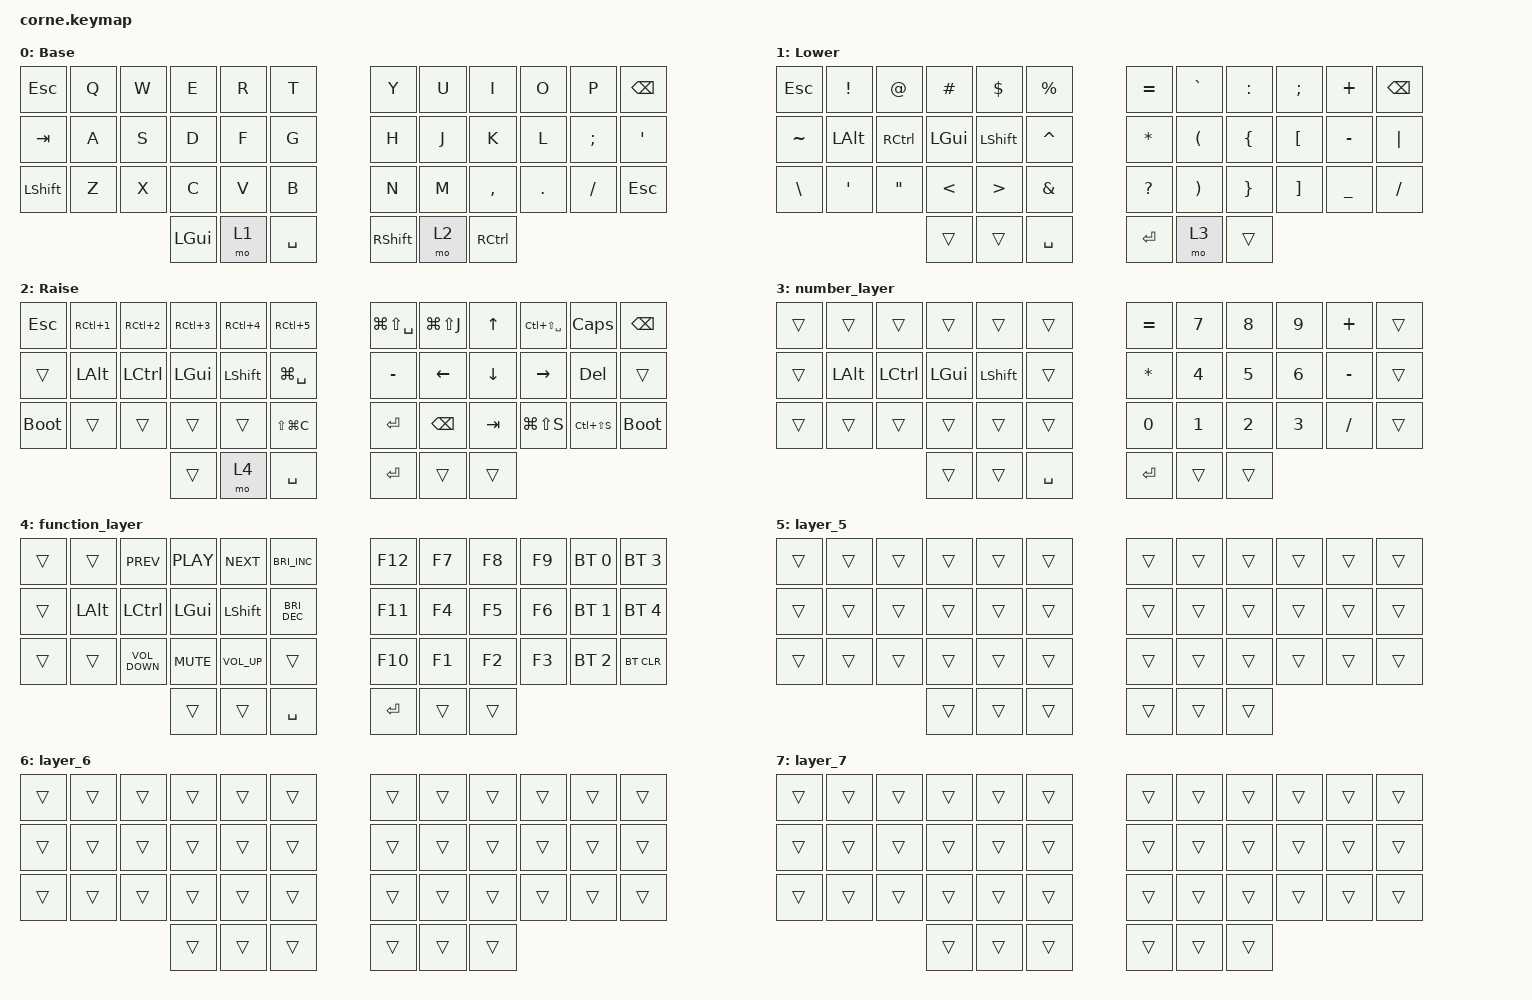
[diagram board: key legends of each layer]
/*
 * Copyright (c) 2020 The ZMK Contributors
 *
 * SPDX-License-Identifier: MIT
 */

#include <behaviors.dtsi>
#include <dt-bindings/zmk/bt.h>
#include <dt-bindings/zmk/keys.h>

/ {
    keymap {
        compatible = "zmk,keymap";

        default_layer {
            // -----------------------------------------------------------------------------------------
            // |  TAB |  Q  |  W  |  E  |  R  |  T  |   |  Y  |  U   |  I  |  O  |  P  | BKSP |
            // | CTRL |  A  |  S  |  D  |  F  |  G  |   |  H  |  J   |  K  |  L  |  ;  |  '   |
            // | SHFT |  Z  |  X  |  C  |  V  |  B  |   |  N  |  M   |  ,  |  .  |  /  | ESC  |
            //                    | GUI | LWR | SPC |   | ENT | RSE  | ALT |

            label = "Base";
            bindings = <
&kp ESCAPE  &kp Q  &kp W  &kp E     &kp R  &kp T        &kp Y            &kp U  &kp I              &kp O    &kp P     &kp BSPC
&kp TAB     &kp A  &kp S  &kp D     &kp F  &kp G        &kp H            &kp J  &kp K              &kp L    &kp SEMI  &kp SQT
&kp LSHFT   &kp Z  &kp X  &kp C     &kp V  &kp B        &kp N            &kp M  &kp COMMA          &kp DOT  &kp FSLH  &kp ESC
                          &kp LGUI  &mo 1  &kp SPACE    &kp RIGHT_SHIFT  &mo 2  &kp RIGHT_CONTROL
            >;
        };

        lower_layer {
            // -----------------------------------------------------------------------------------------
            // |  TAB |  1  |  2  |  3  |  4  |  5  |   |  6  |  7  |  8  |  9  |  0  | BKSP |
            // | BTCLR| BT1 | BT2 | BT3 | BT4 | BT5 |   | LFT | DWN |  UP | RGT |     |      |
            // | SHFT |     |     |     |     |     |   |     |     |     |     |     |      |
            //                    |BTCLR|     | SPC |   | ENT |     | ALT |

            label = "Lower";
            bindings = <
&kp ESCAPE     &kp EXCLAMATION  &kp AT_SIGN        &kp HASH       &kp DOLLAR        &kp PERCENT      &kp EQUAL     &kp GRAVE              &kp COLON        &kp SEMICOLON      &kp PLUS        &kp BSPC
&kp TILDE      &kp LEFT_ALT     &kp RIGHT_CONTROL  &kp LEFT_GUI   &kp LEFT_SHIFT    &kp CARET        &kp ASTERISK  &kp LEFT_PARENTHESIS   &kp LEFT_BRACE   &kp LEFT_BRACKET   &kp MINUS       &kp PIPE
&kp BACKSLASH  &kp SQT          &kp DOUBLE_QUOTES  &kp LESS_THAN  &kp GREATER_THAN  &kp AMPERSAND    &kp QUESTION  &kp RIGHT_PARENTHESIS  &kp RIGHT_BRACE  &kp RIGHT_BRACKET  &kp UNDERSCORE  &kp SLASH
                                                   &trans         &trans            &kp SPACE        &kp RET       &mo 3                  &trans
            >;
        };

        raise_layer {
            // -----------------------------------------------------------------------------------------
            // |  TAB |  !  |  @  |  #  |  $  |  %  |   |  ^  |  &  |  *  |  (  |  )  | BKSP |
            // | CTRL |     |     |     |     |     |   |  -  |  =  |  [  |  ]  |  \  |  `   |
            // | SHFT |     |     |     |     |     |   |  _  |  +  |  {  |  }  | "|" |  ~   |
            //                    | GUI |     | SPC |   | ENT |     | ALT |

            label = "Raise";
            bindings = <
&kp ESCAPE   &kp RC(NUMBER_1)  &kp RC(NUMBER_2)  &kp RC(NUMBER_3)  &kp RC(NUMBER_4)  &kp RC(N5)       &kp LG(LS(SPACE))  &kp LG(LS(J))  &kp UP_ARROW  &kp LC(LS(SPACE))  &kp CLCK       &kp BSPC
&trans       &kp LEFT_ALT      &kp LEFT_CONTROL  &kp LEFT_GUI      &kp LEFT_SHIFT    &kp LG(SPACE)    &kp MINUS          &kp LEFT       &kp DOWN      &kp RIGHT          &kp DELETE     &trans
&bootloader  &trans            &trans            &trans            &trans            &kp LS(LG(C))    &kp ENTER          &kp BACKSPACE  &kp TAB       &kp LG(LS(S))      &kp LC(LS(S))  &bootloader
                                                 &trans            &mo 4             &kp SPACE        &kp RET            &trans         &trans
            >;
        };

        number_layer {
            bindings = <
&trans  &trans        &trans            &trans        &trans          &trans       &kp EQUAL     &kp N7        &kp N8        &kp N9        &kp PLUS   &trans
&trans  &kp LEFT_ALT  &kp LEFT_CONTROL  &kp LEFT_GUI  &kp LEFT_SHIFT  &trans       &kp ASTERISK  &kp NUMBER_4  &kp N5        &kp NUMBER_6  &kp MINUS  &trans
&trans  &trans        &trans            &trans        &trans          &trans       &kp N0        &kp NUMBER_1  &kp NUMBER_2  &kp NUMBER_3  &kp SLASH  &trans
                                        &trans        &trans          &kp SPACE    &kp ENTER     &trans        &trans
            >;
        };

        function_layer {
            bindings = <
&trans  &trans        &kp C_PREV         &kp C_PLAY    &kp C_NEXT       &kp C_BRIGHTNESS_INC    &kp F12    &kp F7  &kp F8  &kp F9  &bt BT_SEL 0  &bt BT_SEL 3
&trans  &kp LEFT_ALT  &kp LEFT_CONTROL   &kp LEFT_GUI  &kp LEFT_SHIFT   &kp C_BRIGHTNESS_DEC    &kp F11    &kp F4  &kp F5  &kp F6  &bt BT_SEL 1  &bt BT_SEL 4
&trans  &trans        &kp C_VOLUME_DOWN  &kp C_MUTE    &kp C_VOLUME_UP  &trans                  &kp F10    &kp F1  &kp F2  &kp F3  &bt BT_SEL 2  &bt BT_CLR
                                         &trans        &trans           &kp SPACE               &kp ENTER  &trans  &trans
            >;
        };

        layer_5 {
            bindings = <
&trans  &trans  &trans  &trans  &trans  &trans    &trans  &trans  &trans  &trans  &trans  &trans
&trans  &trans  &trans  &trans  &trans  &trans    &trans  &trans  &trans  &trans  &trans  &trans
&trans  &trans  &trans  &trans  &trans  &trans    &trans  &trans  &trans  &trans  &trans  &trans
                        &trans  &trans  &trans    &trans  &trans  &trans
            >;
        };

        layer_6 {
            bindings = <
&trans  &trans  &trans  &trans  &trans  &trans    &trans  &trans  &trans  &trans  &trans  &trans
&trans  &trans  &trans  &trans  &trans  &trans    &trans  &trans  &trans  &trans  &trans  &trans
&trans  &trans  &trans  &trans  &trans  &trans    &trans  &trans  &trans  &trans  &trans  &trans
                        &trans  &trans  &trans    &trans  &trans  &trans
            >;
        };

        layer_7 {
            bindings = <
&trans  &trans  &trans  &trans  &trans  &trans    &trans  &trans  &trans  &trans  &trans  &trans
&trans  &trans  &trans  &trans  &trans  &trans    &trans  &trans  &trans  &trans  &trans  &trans
&trans  &trans  &trans  &trans  &trans  &trans    &trans  &trans  &trans  &trans  &trans  &trans
                        &trans  &trans  &trans    &trans  &trans  &trans
            >;
        };
    };
};
